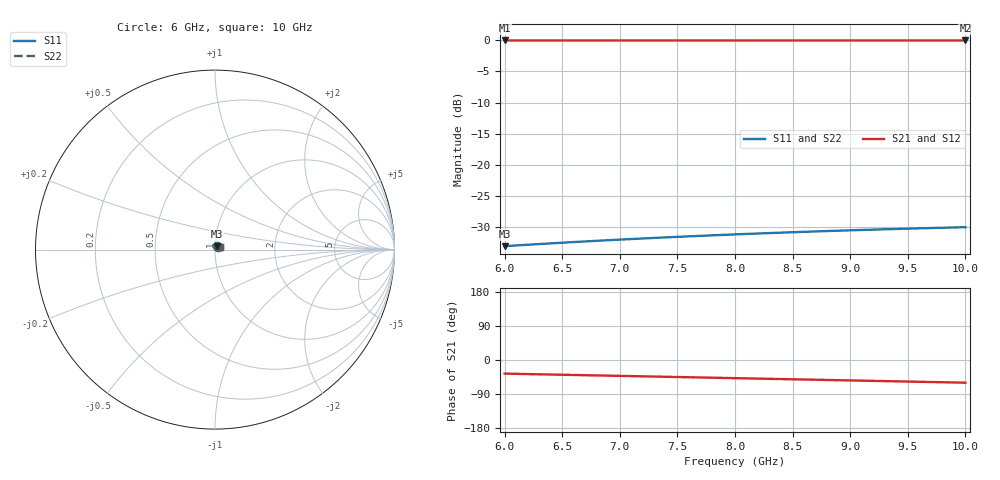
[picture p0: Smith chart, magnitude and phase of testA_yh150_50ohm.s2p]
! Touchstone file exported from HFSS 2024.2.0
!  File:  C:/Users/artho/Documents/Ansoft/ansys_testA.aedt
!  Generated:  01:03:39 AM Sep  7, 2026
!  Design:  HFSS_W8X
!  Project:  ansys_testA
!  Setup:  Setup1
!  Solution:  Sweep1
!Data is not renormalized
! Created with skrf 2.1.0 (http://scikit-rf.org).
! Data is not renormalized
! S-parameter uses the power definition
# GHz S RI R
! Port[1] = p1
! Port[2] = p2
!freq ReS11 ImS11 ReS21 ImS21 ReS12 ImS12 ReS22 ImS22
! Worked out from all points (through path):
!   41 points, 6 GHz to 10 GHz, reference per port
!   highest |S21| = 0.00 dB at 6 GHz (marker M1); lowest = 0.0 dB at 10 GHz (marker M2)
!   group delay of S21, straight-line fit = 16.6 ps
!   lowest |S11| = -33.1 dB at 6 GHz (marker M3), VSWR 1.05
!   |S11| at or under -10 dB: start of sweep to end of sweep
!   |S22| runs from -33.1 to -30.1 dB; largest |S21 - S12| = 5.6e-15
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6  0.0109 0.0192  0.8095 -0.5867  0.8095 -0.5867  0.0149 0.0163
! Port Impedance 50.00000000000000 0.00000000000000 50.00000000000000 0.00000000000000
6.1  0.0113 0.0193  0.8033 -0.5952  0.8033 -0.5952  0.0152 0.0164
6.3  0.0121 0.0195  0.7907 -0.6118  0.7907 -0.6118  0.0159 0.0166
6.5  0.0129 0.0197  0.7777 -0.6282  0.7777 -0.6282  0.0165 0.0168
6.7  0.0137 0.0198  0.7644 -0.6443  0.7644 -0.6443  0.0172 0.0169
6.8  0.0141 0.0199  0.7576 -0.6523  0.7576 -0.6523  0.0175 0.0169
7  0.015 0.0199  0.7438 -0.6679  0.7438 -0.6679  0.0182 0.017
7.2  0.0158 0.02  0.7297 -0.6833  0.7297 -0.6833  0.0189 0.0171
7.4  0.0166 0.02  0.7152 -0.6984  0.7152 -0.6984  0.0196 0.0171
7.5  0.017 0.02  0.7079 -0.7058  0.7079 -0.7058  0.0199 0.0171
7.7  0.0178 0.0199  0.693 -0.7205  0.693 -0.7205  0.0206 0.0171
7.8  0.0182 0.0199  0.6854 -0.7277  0.6854 -0.7277  0.0209 0.017
8  0.0191 0.0198  0.67 -0.7418  0.67 -0.7418  0.0216 0.017
8.3  0.0203 0.0195  0.6465 -0.7624  0.6465 -0.7624  0.0226 0.0168
8.5  0.0211 0.0193  0.6304 -0.7758  0.6304 -0.7758  0.0232 0.0167
8.7  0.0218 0.0191  0.614 -0.7887  0.614 -0.7887  0.0239 0.0165
8.9  0.0226 0.0188  0.5974 -0.8014  0.5974 -0.8014  0.0245 0.0163
9.1  0.0234 0.0185  0.5805 -0.8137  0.5805 -0.8137  0.0251 0.0161
9.4  0.0245 0.018  0.5547 -0.8315  0.5547 -0.8315  0.026 0.0157
9.7  0.0255 0.0174  0.5284 -0.8484  0.5284 -0.8484  0.0269 0.0152
9.9  0.0262 0.017  0.5106 -0.8593  0.5106 -0.8593  0.0274 0.0149
10  0.0265 0.0168  0.5016 -0.8646  0.5016 -0.8646  0.0277 0.0147
